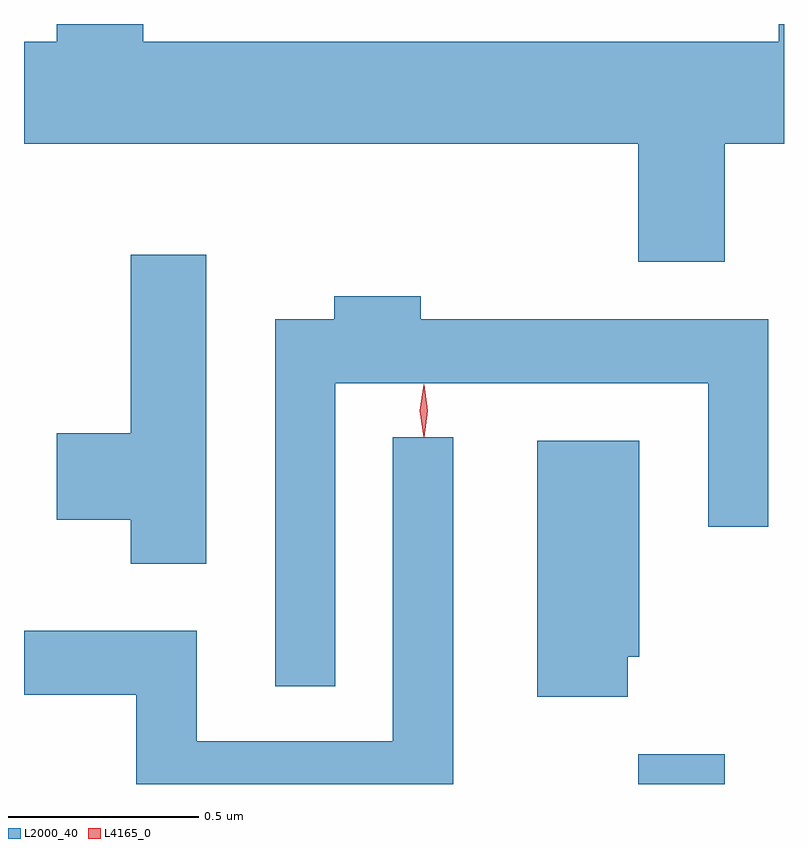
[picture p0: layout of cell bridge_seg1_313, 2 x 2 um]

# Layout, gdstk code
import gdstk
lib = gdstk.Library(unit=1e-6, precision=1e-09)
def R(c, l, rs):  # rectangles x0, y0, x1, y1
    for r in rs: c.add(gdstk.rectangle(r[:2], r[2:], *l))
def P(c, l, *ps):  # polygons
    for p in ps: c.add(gdstk.Polygon(p, *l))
L2000_40 = (2000, 40)
L4165_0 = (4165, 0)

bridge_seg1_313 = lib.new_cell('bridge_seg1_313')
R(bridge_seg1_313, L2000_40, [(891.881,880.131,892.109,880.209)])
P(bridge_seg1_313, L2000_40, [(892.109,881.816),(892.265,881.816),(892.265,882.131),(892.251,882.131),(892.251,882.084),(890.579,882.084),(890.579,882.131),(890.351,882.131),(890.351,882.084),(890.265,882.084),(890.265,881.816),(891.881,881.816),(891.881,881.506),(892.109,881.506)],
  [(890.744,881.524),(890.546,881.524),(890.546,881.054),(890.351,881.054),(890.351,880.826),(890.546,880.826),(890.546,880.711),(890.744,880.711)],
  [(891.084,881.186),(892.066,881.186),(892.066,880.808),(892.224,880.808),(892.224,881.354),(891.309,881.354),(891.309,881.414),(891.081,881.414),(891.081,881.354),(890.926,881.354),(890.926,880.388),(891.084,880.388)],
  [(891.394,881.043),(891.236,881.043),(891.236,880.244),(890.719,880.244),(890.719,880.534),(890.265,880.534),(890.265,880.366),(890.561,880.366),(890.561,880.131),(891.394,880.131)],
  [(891.854,880.466),(891.884,880.466),(891.884,881.034),(891.616,881.034),(891.616,880.361),(891.854,880.361)])
P(bridge_seg1_313, L4165_0, [(891.317,881.043),(891.317,881.044),(891.307,881.113),(891.317,881.182),(891.317,881.183),(891.318,881.182),(891.327,881.113),(891.318,881.044)])

lib.write_gds('bridge_seg1_313.gds')
